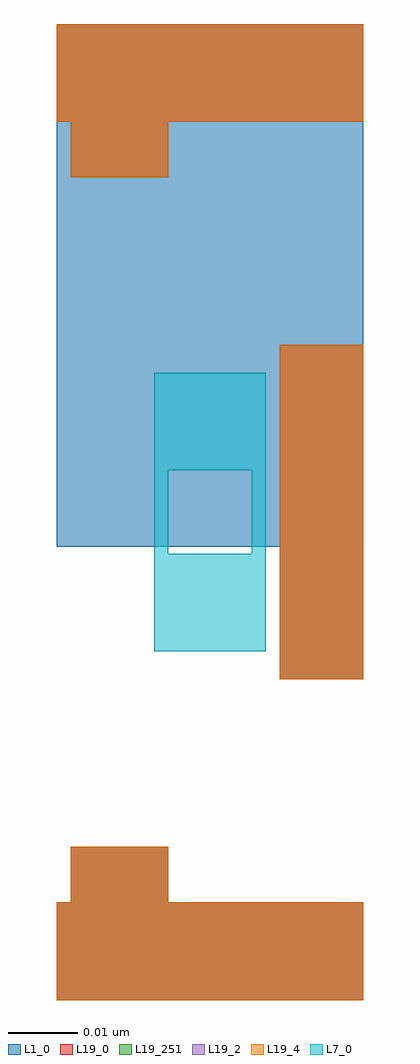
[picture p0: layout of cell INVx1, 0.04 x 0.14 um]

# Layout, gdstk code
import gdstk
lib = gdstk.Library(unit=1e-6, precision=1e-09)
def R(c, l, rs):  # rectangles x0, y0, x1, y1
    for r in rs: c.add(gdstk.rectangle(r[:2], r[2:], *l))
L1_0 = (1, 0)
L7_0 = (7, 0)
L19_0 = (19, 0)
L19_2 = (19, 2)
L19_4 = (19, 4)
L19_251 = (19, 251)

invx1 = lib.new_cell('INVx1')
R(invx1, L1_0, [(0,0.065,0.044,0.14)])
R(invx1, L7_0, [(0.014,0.05,0.03,0.064), (0.014,0.064,0.016,0.076), (0.028,0.064,0.03,0.076), (0.014,0.076,0.03,0.09)])
R(invx1, L19_0, [(0,0,0.044,0.014), (0.002,0.014,0.016,0.022), (0.032,0.046,0.044,0.094), (0.002,0.118,0.016,0.126), (0,0.126,0.044,0.14)])
R(invx1, L19_2, [(0,0,0.044,0.014), (0.002,0.014,0.016,0.022), (0.032,0.046,0.044,0.094), (0.002,0.118,0.016,0.126), (0,0.126,0.044,0.14)])
R(invx1, L19_4, [(0,0,0.044,0.014), (0.002,0.014,0.016,0.022), (0.032,0.046,0.044,0.094), (0.002,0.118,0.016,0.126), (0,0.126,0.044,0.14)])
R(invx1, L19_251, [(0,0,0.044,0.014), (0.002,0.014,0.016,0.022), (0.032,0.046,0.044,0.094), (0.002,0.118,0.016,0.126), (0,0.126,0.044,0.14)])

lib.write_gds('INVx1.gds')
